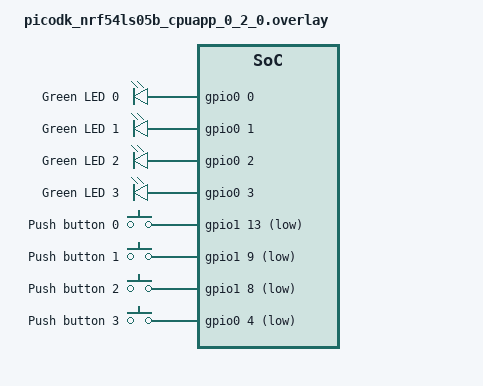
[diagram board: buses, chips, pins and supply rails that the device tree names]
/*
 * Copyright (c) 2025 Nordic Semiconductor ASA
 *
 * SPDX-License-Identifier: LicenseRef-Nordic-5-Clause
 */

#include "picodk_nrf54ls05b-pinctrl.dtsi"

/ {
	leds {
		compatible = "gpio-leds";

		led0: led_0 {
			gpios = <&gpio0 0 GPIO_ACTIVE_HIGH>;
			label = "Green LED 0";
		};

		led1: led_1 {
			gpios = <&gpio0 1 GPIO_ACTIVE_HIGH>;
			label = "Green LED 1";
		};

		led2: led_2 {
			gpios = <&gpio0 2 GPIO_ACTIVE_HIGH>;
			label = "Green LED 2";
		};

		led3: led_3 {
			gpios = <&gpio0 3 GPIO_ACTIVE_HIGH>;
			label = "Green LED 3";
		};
	};

	buttons {
		compatible = "gpio-keys";

		button0: button_0 {
			gpios = <&gpio1 13 (GPIO_PULL_UP | GPIO_ACTIVE_LOW)>;
			label = "Push button 0";
			zephyr,code = <INPUT_KEY_0>;
		};

		button1: button_1 {
			gpios = <&gpio1 9 (GPIO_PULL_UP | GPIO_ACTIVE_LOW)>;
			label = "Push button 1";
			zephyr,code = <INPUT_KEY_1>;
		};

		button2: button_2 {
			gpios = <&gpio1 8 (GPIO_PULL_UP | GPIO_ACTIVE_LOW)>;
			label = "Push button 2";
			zephyr,code = <INPUT_KEY_2>;
		};

		button3: button_3 {
			gpios = <&gpio0 4 (GPIO_PULL_UP | GPIO_ACTIVE_LOW)>;
			label = "Push button 3";
			zephyr,code = <INPUT_KEY_3>;
		};
	};

	aliases {
		led0 = &led0;
		led1 = &led1;
		led2 = &led2;
		led3 = &led3;
		sw0 = &button0;
		sw1 = &button1;
		sw2 = &button2;
		sw3 = &button3;
	};
};

&pinctrl {
	/omit-if-no-ref/ uart20_default: uart20_default {
		group1 {
			psels = <NRF_PSEL(UART_TX, 1, 10)>,
				<NRF_PSEL(UART_RTS, 1, 15)>;
		};

		group2 {
			psels = <NRF_PSEL(UART_RX, 1, 14)>,
				<NRF_PSEL(UART_CTS, 1, 16)>;
			bias-pull-up;
		};
	};

	/omit-if-no-ref/ uart20_sleep: uart20_sleep {
		group1 {
			psels = <NRF_PSEL(UART_TX, 1, 10)>,
				<NRF_PSEL(UART_RX, 1, 14)>,
				<NRF_PSEL(UART_RTS, 1, 15)>,
				<NRF_PSEL(UART_CTS, 1, 16)>;
			low-power-enable;
		};
	};
};
